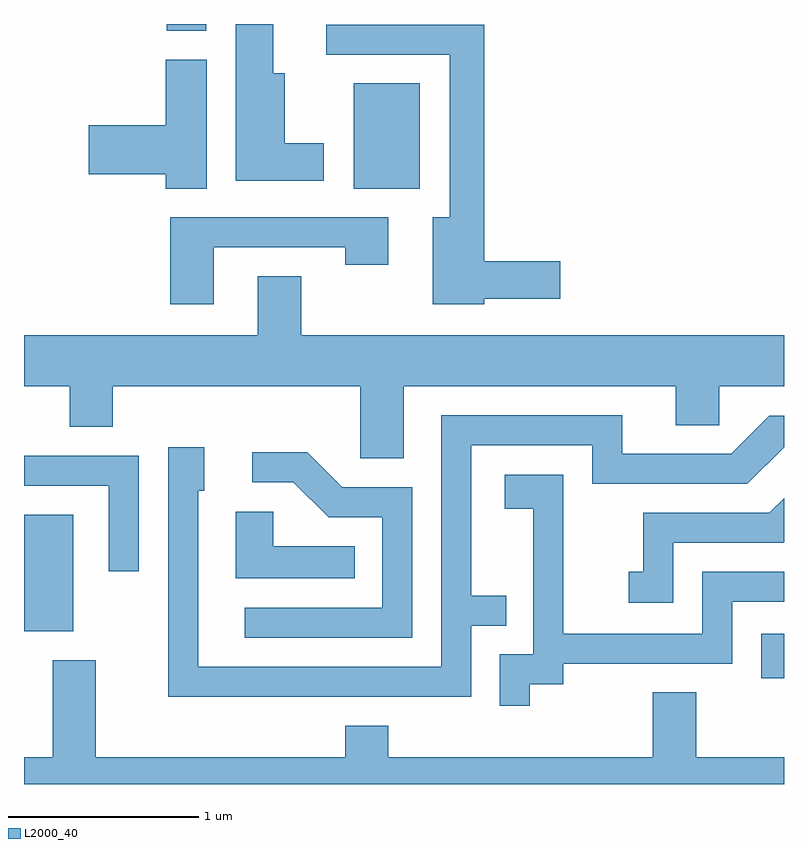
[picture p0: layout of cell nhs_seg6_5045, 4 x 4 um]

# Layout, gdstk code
import gdstk
lib = gdstk.Library(unit=1e-6, precision=1e-09)
def R(c, l, rs):  # rectangles x0, y0, x1, y1
    for r in rs: c.add(gdstk.rectangle(r[:2], r[2:], *l))
def P(c, l, *ps):  # polygons
    for p in ps: c.add(gdstk.Polygon(p, *l))
L2000_40 = (2000, 40)

nhs_seg6_5045 = lib.new_cell('nhs_seg6_5045')
R(nhs_seg6_5045, L2000_40, [(343.491,1550.718,343.611,1550.954), (339.611,1550.966,339.869,1551.579), (341.346,1553.296,341.694,1553.849), (340.361,1554.126,340.569,1554.162)])
P(nhs_seg6_5045, L2000_40, [(341.189,1553.534),(340.984,1553.534),(340.984,1553.904),(340.924,1553.904),(340.924,1554.162),(340.726,1554.162),(340.726,1553.336),(341.189,1553.336)],
  [(342.034,1552.716),(342.434,1552.716),(342.434,1552.914),(342.034,1552.914),(342.034,1554.159),(341.203,1554.159),(341.203,1554.001),(341.851,1554.001),(341.851,1553.144),(341.761,1553.144),(341.761,1552.686),(342.034,1552.686)],
  [(340.574,1553.974),(340.356,1553.974),(340.356,1553.629),(339.951,1553.629),(339.951,1553.371),(340.356,1553.371),(340.356,1553.296),(340.574,1553.296)],
  [(340.609,1552.986),(341.301,1552.986),(341.301,1552.896),(341.529,1552.896),(341.529,1553.144),(340.381,1553.144),(340.381,1552.686),(340.609,1552.686)],
  [(341.609,1552.256),(343.041,1552.256),(343.041,1552.051),(343.269,1552.051),(343.269,1552.256),(343.611,1552.256),(343.611,1552.524),(341.069,1552.524),(341.069,1552.834),(340.841,1552.834),(340.841,1552.524),(339.611,1552.524),(339.611,1552.256),(339.851,1552.256),(339.851,1552.041),(340.079,1552.041),(340.079,1552.256),(341.381,1552.256),(341.381,1551.876),(341.609,1551.876)],
  [(341.964,1550.996),(342.148,1550.996),(342.148,1551.154),(341.964,1551.154),(341.964,1551.946),(342.601,1551.946),(342.601,1551.741),(343.417,1551.741),(343.611,1551.935),(343.611,1552.099),(343.534,1552.099),(343.334,1551.899),(342.759,1551.899),(342.759,1552.104),(341.806,1552.104),(341.806,1550.779),(340.529,1550.779),(340.529,1551.706),(340.559,1551.706),(340.559,1551.934),(340.371,1551.934),(340.371,1550.621),(341.964,1550.621)],
  [(341.654,1551.724),(341.287,1551.724),(341.102,1551.909),(340.813,1551.909),(340.813,1551.751),(341.029,1551.751),(341.214,1551.566),(341.496,1551.566),(341.496,1551.089),(340.773,1551.089),(340.773,1550.931),(341.654,1550.931)],
  [(340.214,1551.889),(339.611,1551.889),(339.611,1551.731),(340.056,1551.731),(340.056,1551.283),(340.214,1551.283)],
  [(342.274,1550.686),(342.449,1550.686),(342.449,1550.796),(343.339,1550.796),(343.339,1551.121),(343.611,1551.121),(343.611,1551.279),(343.181,1551.279),(343.181,1550.954),(342.449,1550.954),(342.449,1551.789),(342.141,1551.789),(342.141,1551.611),(342.291,1551.611),(342.291,1550.844),(342.116,1550.844),(342.116,1550.573),(342.274,1550.573)],
  [(343.029,1551.431),(343.607,1551.431),(343.611,1551.435),(343.611,1551.666),(343.534,1551.589),(342.871,1551.589),(342.871,1551.279),(342.793,1551.279),(342.793,1551.116),(343.029,1551.116)],
  [(341.353,1551.414),(340.924,1551.414),(340.924,1551.594),(340.726,1551.594),(340.726,1551.246),(341.353,1551.246)],
  [(343.611,1550.304),(343.149,1550.304),(343.149,1550.644),(342.921,1550.644),(342.921,1550.304),(341.529,1550.304),(341.529,1550.469),(341.301,1550.469),(341.301,1550.304),(339.989,1550.304),(339.989,1550.814),(339.761,1550.814),(339.761,1550.304),(339.611,1550.304),(339.611,1550.162),(343.611,1550.162)])

lib.write_gds('nhs_seg6_5045.gds')
